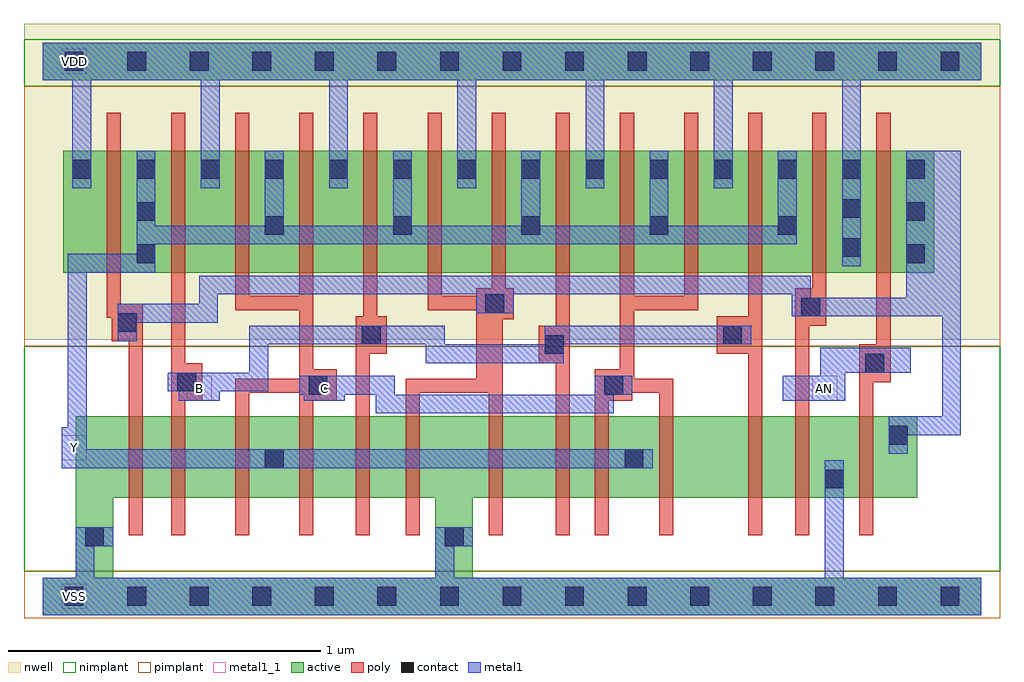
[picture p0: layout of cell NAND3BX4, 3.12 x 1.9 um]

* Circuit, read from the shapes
.subckt NAND3BX4 AN B C VDD VSS Y
M1 n1 n2 VSS VSS nfet w=0.26u l=0.045u
M2 n3 B n1 VSS nfet w=0.26u l=0.045u
M3 Y C n3 VSS nfet w=0.26u l=0.045u
M4 n4 C Y VSS nfet w=0.26u l=0.045u
M5 n5 B n4 VSS nfet w=0.26u l=0.045u
M6 VSS n2 n5 VSS nfet w=0.26u l=0.045u
M7 n6 n2 VSS VSS nfet w=0.26u l=0.045u
M8 n7 B n6 VSS nfet w=0.26u l=0.045u
M9 Y C n7 VSS nfet w=0.26u l=0.045u
M10 n8 C Y VSS nfet w=0.26u l=0.045u
M11 n9 B n8 VSS nfet w=0.26u l=0.045u
M12 VSS n2 n9 VSS nfet w=0.26u l=0.045u
M13 n2 AN VSS VSS nfet w=0.26u l=0.045u
M14 Y n2 VDD VDD pfet w=0.39u l=0.045u m=4
M15 VDD B Y VDD pfet w=0.39u l=0.045u m=4
M16 Y C VDD VDD pfet w=0.39u l=0.045u m=4
M17 n2 AN VDD VDD pfet w=0.39u l=0.045u
.ends

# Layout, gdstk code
import gdstk
lib = gdstk.Library(unit=1e-6, precision=5e-10)
def R(c, l, rs):  # rectangles x0, y0, x1, y1
    for r in rs: c.add(gdstk.rectangle(r[:2], r[2:], *l))
def A(c, l, x, y, w, h, nx, ny, dx, dy):  # array of equal rectangles
    R(c, l, [(x+i*dx, y+j*dy, x+i*dx+w, y+j*dy+h) for i in range(nx) for j in range(ny)])
def P(c, l, *ps):  # polygons
    for p in ps: c.add(gdstk.Polygon(p, *l))
active = (1, 0)
nwell = (2, 0)
poly = (3, 0)
nimplant = (4, 0)
pimplant = (5, 0)
contact = (6, 0)
metal1 = (7, 0)
metal1_1 = (7, 1)

nand3bx4 = lib.new_cell('NAND3BX4')
R(nand3bx4, active, [(0.065,1.035,2.85,1.425), (0,1.65,3,1.77)])
P(nand3bx4, active, [(0.105,0.575),(2.795,0.575),(2.795,0.315),(1.375,0.315),(1.375,0.06),(3,0.06),(3,-0.06),(0,-0.06),(0,0.06),(0.105,0.06),(0.105,0.315),(0.225,0.315),(0.225,0.06),(1.255,0.06),(1.255,0.315),(0.105,0.315)])
R(nand3bx4, nwell, [(-0.06,0.82,3.06,1.83)])
P(nand3bx4, poly, [(0.205,1.545),(0.25,1.545),(0.25,0.935),(0.32,0.935),(0.32,0.195),(0.275,0.195),(0.275,0.815),(0.22,0.815),(0.22,0.89),(0.205,0.89)],
  [(0.41,1.545),(0.455,1.545),(0.455,0.745),(0.51,0.745),(0.51,0.625),(0.455,0.625),(0.455,0.195),(0.41,0.195)],
  [(0.615,1.545),(0.66,1.545),(0.66,0.96),(0.82,0.96),(0.82,1.545),(0.865,1.545),(0.865,0.725),(0.94,0.725),(0.94,0.625),(0.865,0.625),(0.865,0.195),(0.82,0.195),(0.82,0.65),(0.66,0.65),(0.66,0.195),(0.615,0.195),(0.615,0.695),(0.82,0.695),(0.82,0.915),(0.615,0.915)],
  [(1.025,1.545),(1.07,1.545),(1.07,0.895),(1.1,0.895),(1.1,0.775),(1.045,0.775),(1.045,0.195),(1,0.195),(1,0.895),(1.025,0.895)],
  [(1.23,1.545),(1.275,1.545),(1.275,0.96),(1.385,0.96),(1.385,0.985),(1.435,0.985),(1.435,1.545),(1.48,1.545),(1.48,0.985),(1.505,0.985),(1.505,0.885),(1.47,0.885),(1.47,0.195),(1.425,0.195),(1.425,0.65),(1.205,0.65),(1.205,0.195),(1.16,0.195),(1.16,0.695),(1.385,0.695),(1.385,0.915),(1.23,0.915)],
  [(1.64,1.545),(1.685,1.545),(1.685,0.195),(1.64,0.195),(1.64,0.745),(1.585,0.745),(1.585,0.865),(1.64,0.865)],
  [(1.845,1.545),(1.89,1.545),(1.89,0.96),(2.05,0.96),(2.05,1.545),(2.095,1.545),(2.095,0.915),(1.89,0.915),(1.89,0.695),(2.015,0.695),(2.015,0.195),(1.97,0.195),(1.97,0.65),(1.885,0.65),(1.885,0.625),(1.81,0.625),(1.81,0.195),(1.765,0.195),(1.765,0.725),(1.845,0.725)],
  [(2.255,1.545),(2.3,1.545),(2.3,0.195),(2.255,0.195),(2.255,0.775),(2.155,0.775),(2.155,0.895),(2.255,0.895)],
  [(2.46,1.545),(2.505,1.545),(2.505,0.865),(2.45,0.865),(2.45,0.195),(2.405,0.195),(2.405,0.985),(2.46,0.985)],
  [(2.665,1.545),(2.71,1.545),(2.71,0.685),(2.655,0.685),(2.655,0.195),(2.61,0.195),(2.61,0.805),(2.665,0.805)])
R(nand3bx4, nimplant, [(-0.06,0.08,3.06,0.8), (-0.06,1.63,3.06,1.78)])
R(nand3bx4, pimplant, [(-0.06,-0.07,3.06,0.08), (-0.06,0.8,3.06,1.63)])
A(nand3bx4, contact, 0.07, -0.03, 0.06, 0.06, 15, 2, 0.2, 1.71)
A(nand3bx4, contact, 0.71, 1.155, 0.06, 0.06, 5, 1, 0.41, 0)
A(nand3bx4, contact, 0.095, 1.335, 0.06, 0.06, 14, 1, 0.205, 0)
R(nand3bx4, contact, [(0.135,0.16,0.195,0.22), (1.285,0.16,1.345,0.22), (2.5,0.345,2.56,0.405), (0.71,0.41,0.77,0.47), (1.86,0.41,1.92,0.47), (2.705,0.485,2.765,0.545), (0.85,0.645,0.91,0.705), (1.795,0.645,1.855,0.705), (0.43,0.655,0.49,0.715), (2.63,0.715,2.69,0.775), (1.605,0.775,1.665,0.835), (1.02,0.805,1.08,0.865), (2.175,0.805,2.235,0.865), (0.24,0.845,0.3,0.905), (2.425,0.895,2.485,0.955), (1.415,0.905,1.475,0.965), (0.3,1.065,0.36,1.125), (2.76,1.065,2.82,1.125), (2.555,1.085,2.615,1.145), (0.3,1.2,0.36,1.26), (2.76,1.2,2.82,1.26), (2.555,1.21,2.615,1.27)])
P(nand3bx4, metal1, [(0,1.77),(3,1.77),(3,1.65),(2.615,1.65),(2.615,1.055),(2.555,1.055),(2.555,1.65),(2.205,1.65),(2.205,1.305),(2.145,1.305),(2.145,1.65),(1.795,1.65),(1.795,1.305),(1.735,1.305),(1.735,1.65),(1.385,1.65),(1.385,1.305),(1.325,1.305),(1.325,1.65),(0.975,1.65),(0.975,1.305),(0.915,1.305),(0.915,1.65),(0.565,1.65),(0.565,1.305),(0.505,1.305),(0.505,1.65),(0.155,1.65),(0.155,1.305),(0.095,1.305),(0.095,1.65),(0,1.65)],
  [(0.3,1.425),(0.36,1.425),(0.36,1.185),(0.71,1.185),(0.71,1.425),(0.77,1.425),(0.77,1.185),(1.12,1.185),(1.12,1.425),(1.18,1.425),(1.18,1.185),(1.53,1.185),(1.53,1.425),(1.59,1.425),(1.59,1.185),(1.94,1.185),(1.94,1.425),(2,1.425),(2,1.185),(2.35,1.185),(2.35,1.425),(2.41,1.425),(2.41,1.125),(0.36,1.125),(0.36,1.035),(0.14,1.035),(0.14,0.47),(1.95,0.47),(1.95,0.41),(0.06,0.41),(0.06,0.54),(0.08,0.54),(0.08,1.095),(0.3,1.095)],
  [(0.5,1.025),(2.455,1.025),(2.455,0.955),(2.76,0.955),(2.76,1.425),(2.935,1.425),(2.935,0.515),(2.765,0.515),(2.765,0.455),(2.705,0.455),(2.705,0.575),(2.875,0.575),(2.875,0.895),(2.395,0.895),(2.395,0.965),(1.505,0.965),(1.505,0.905),(1.385,0.905),(1.385,0.965),(0.56,0.965),(0.56,0.875),(0.3,0.875),(0.3,0.815),(0.24,0.815),(0.24,0.935),(0.5,0.935)],
  [(0.66,0.865),(1.285,0.865),(1.285,0.805),(1.605,0.805),(1.605,0.865),(2.265,0.865),(2.265,0.805),(1.665,0.805),(1.665,0.745),(1.225,0.745),(1.225,0.805),(0.72,0.805),(0.72,0.655),(0.565,0.655),(0.565,0.625),(0.435,0.625),(0.435,0.655),(0.4,0.655),(0.4,0.715),(0.66,0.715)],
  [(0.82,0.705),(1.125,0.705),(1.125,0.645),(1.765,0.645),(1.765,0.705),(1.885,0.705),(1.885,0.645),(1.825,0.645),(1.825,0.585),(1.065,0.585),(1.065,0.645),(0.965,0.645),(0.965,0.625),(0.835,0.625),(0.835,0.645),(0.82,0.645)],
  [(2.485,0.795),(2.775,0.795),(2.775,0.715),(2.565,0.715),(2.565,0.625),(2.365,0.625),(2.365,0.705),(2.485,0.705)],
  [(0.105,0.22),(0.225,0.22),(0.225,0.16),(0.165,0.16),(0.165,0.06),(1.255,0.06),(1.255,0.22),(1.375,0.22),(1.375,0.16),(1.315,0.16),(1.315,0.06),(2.5,0.06),(2.5,0.435),(2.56,0.435),(2.56,0.06),(3,0.06),(3,-0.06),(0,-0.06),(0,0.06),(0.105,0.06)])
R(nand3bx4, metal1_1, [(0.06,-0.04,0.14,0.04), (0.06,0.435,0.14,0.515), (0.46,0.625,0.54,0.705), (0.86,0.625,0.94,0.705), (2.46,0.625,2.54,0.705), (0.06,1.67,0.14,1.75)])
nand3bx4.add(gdstk.Label('Y', (0.1,0.475), layer=7, texttype=1))
nand3bx4.add(gdstk.Label('B', (0.5,0.665), layer=7, texttype=1))
nand3bx4.add(gdstk.Label('AN', (2.5,0.665), layer=7, texttype=1))
nand3bx4.add(gdstk.Label('C', (0.9,0.665), layer=7, texttype=1))
nand3bx4.add(gdstk.Label('VDD', (0.1,1.71), layer=7, texttype=1))
nand3bx4.add(gdstk.Label('VSS', (0.1,0), layer=7, texttype=1))
nand3bx4.add(gdstk.Label('NAND3BX4', (0,0), layer=63, texttype=0))

lib.write_gds('NAND3BX4.gds')
